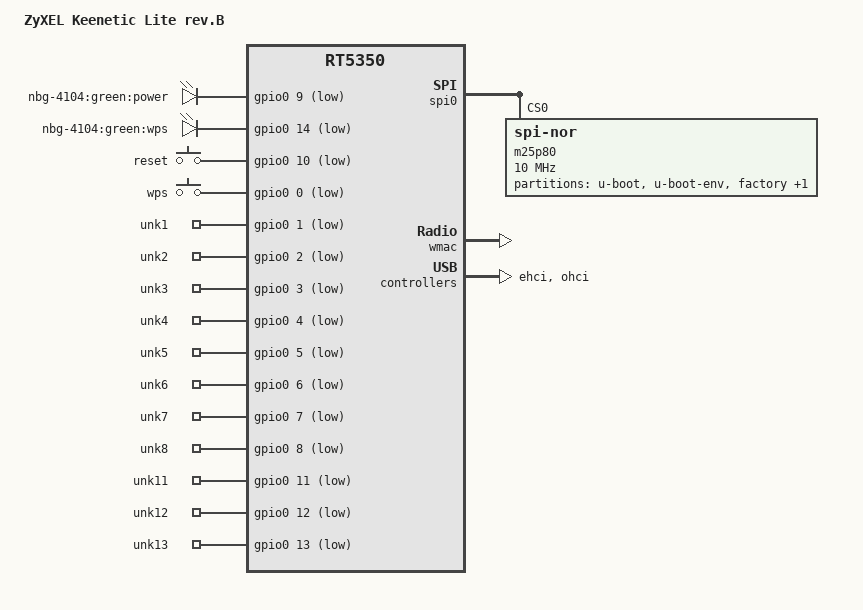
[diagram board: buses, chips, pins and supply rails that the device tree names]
/dts-v1/;

#include "rt5350.dtsi"

#include <dt-bindings/gpio/gpio.h>
#include <dt-bindings/input/input.h>

/ {
	compatible = "NBG-4104", "ralink,rt5350-soc";
	model = "ZyXEL Keenetic Lite rev.B";

	gpio-leds {
		compatible = "gpio-leds";

		power {
			label = "nbg-4104:green:power";
			gpios = <&gpio0 9 GPIO_ACTIVE_LOW>;
		};

		wps {
			label = "nbg-4104:green:wps";
			gpios = <&gpio0 14 GPIO_ACTIVE_LOW>;
		};
	};

	gpio-keys-polled {
		compatible = "gpio-keys-polled";
		#address-cells = <1>;
		#size-cells = <0>;
		poll-interval = <20>;

		reset {
			label = "reset";
			gpios = <&gpio0 10 GPIO_ACTIVE_LOW>;
			linux,code = <KEY_RESTART>;
		};

		wps {
			label = "wps";
			gpios = <&gpio0 0 GPIO_ACTIVE_LOW>;
			linux,code = <KEY_WPS_BUTTON>;
		};
	};

	gpio_export {
		compatible = "gpio-export";
		#size-cells = <0>;

		gpio_unk1 {
			gpio-export,name = "unk1";
			gpio-export,output = <0>;
			gpios = <&gpio0 1 GPIO_ACTIVE_LOW>;
		};

		gpio_unk2 {
			gpio-export,name = "unk2";
			gpio-export,output = <0>;
			gpios = <&gpio0 2 GPIO_ACTIVE_LOW>;
		};

		gpio_unk3 {
			gpio-export,name = "unk3";
			gpio-export,output = <0>;
			gpios = <&gpio0 3 GPIO_ACTIVE_LOW>;
		};

		gpio_unk4 {
			gpio-export,name = "unk4";
			gpio-export,output = <0>;
			gpios = <&gpio0 4 GPIO_ACTIVE_LOW>;
		};

		gpio_unk5 {
			gpio-export,name = "unk5";
			gpio-export,output = <0>;
			gpios = <&gpio0 5 GPIO_ACTIVE_LOW>;
		};

		gpio_unk6 {
			gpio-export,name = "unk6";
			gpio-export,output = <0>;
			gpios = <&gpio0 6 GPIO_ACTIVE_LOW>;
		};

		gpio_unk7 {
			gpio-export,name = "unk7";
			gpio-export,output = <0>;
			gpios = <&gpio0 7 GPIO_ACTIVE_LOW>;
		};

		gpio_unk8 {
			gpio-export,name = "unk8";
			gpio-export,output = <0>;
			gpios = <&gpio0 8 GPIO_ACTIVE_LOW>;
		};

		gpio_unk11 {
			gpio-export,name = "unk11";
			gpio-export,output = <0>;
			gpios = <&gpio0 11 GPIO_ACTIVE_LOW>;
		};

		gpio_unk12 {
			gpio-export,name = "unk12";
			gpio-export,output = <0>;
			gpios = <&gpio0 12 GPIO_ACTIVE_LOW>;
		};

		gpio_unk13 {
			gpio-export,name = "unk13";
			gpio-export,output = <0>;
			gpios = <&gpio0 13 GPIO_ACTIVE_LOW>;
		};
	};
};

&spi0 {
	status = "okay";

	m25p80@0 {
		#address-cells = <1>;
		#size-cells = <1>;
		reg = <0>;
		compatible = "jedec,spi-nor";
		linux,modalias = "m25p80", "s25fl064k";
		spi-max-frequency = <10000000>;

		partition@0 {
			label = "u-boot";
			reg = <0x0 0x30000>;
			read-only;
		};

		partition@30000 {
			label = "u-boot-env";
			reg = <0x30000 0x10000>;
			read-only;
		};

		factory: partition@40000 {
			label = "factory";
			reg = <0x40000 0x10000>;
			read-only;
		};

		partition@50000 {
			label = "firmware";
			reg = <0x50000 0x7b0000>;
		};
	};
};

&pinctrl {
	state_default: pinctrl0 {
		gpio {
			ralink,group = "i2c", "uartf";
			ralink,function = "gpio";
		};
	};
};

&ethernet {
	mtd-mac-address = <&factory 0x4>;
};

&esw {
	ralink,portmap = <0x2f>;
	ralink,led_polarity = <0x17>;
};

&wmac {
	ralink,mtd-eeprom = <&factory 0x28>;
};

&ehci {
	status = "okay";
};

&ohci {
	status = "okay";
};
